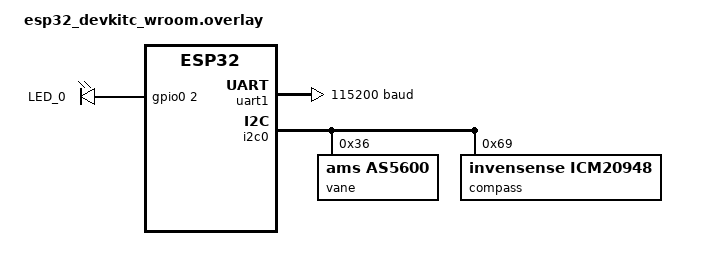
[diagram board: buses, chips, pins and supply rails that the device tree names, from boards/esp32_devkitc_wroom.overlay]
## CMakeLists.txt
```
cmake_minimum_required(VERSION 3.20.0)

find_package(Zephyr REQUIRED HINTS $ENV{ZEPHYR_BASE})

include_directories(src/sensors)

project(vortice_v2)

file(GLOB APP_SOURCES CONFIGURE_DEPENDS 
    "**/*.c"
    "**/*.h")

target_sources(app PRIVATE ${APP_SOURCES})
```

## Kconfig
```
source "Kconfig.zephyr"
```

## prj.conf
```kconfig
CONFIG_I2C=y

CONFIG_MAIN_STACK_SIZE=2048
CONFIG_HEAP_MEM_POOL_SIZE=2048

#Logging
CONFIG_LOG=y
CONFIG_UTF8=y
CONFIG_PRINTK=y
CONFIG_LOG_BACKEND_UART=y
CONFIG_LOG_BUFFER_SIZE=4096
CONFIG_LOG_MAX_LEVEL=4
CONFIG_CBPRINTF_FP_SUPPORT=y

#Sensor API
CONFIG_SENSOR=y

CONFIG_RTC=y
```

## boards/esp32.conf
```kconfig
CONFIG_LOG_BUFFER_SIZE=2048
```

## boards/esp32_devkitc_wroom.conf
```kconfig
CONFIG_LOG_BUFFER_SIZE=16384
```

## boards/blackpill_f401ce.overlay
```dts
/ {
    aliases {
        i2c0 = &i2c1;
        vane = &vane;
        compass = &compass;
    };
};

&usart1 {
     status = "okay";
    current-speed = < 115200 >;
};

&i2c1 {
   clock-frequency = <400000>;

   vane: as5600@36 {
        compatible = "ams,as5600";
        friendly-name = "vane";
        reg = <0x36>;
        status = "okay";
   };

   compass: icm20948@68 {
        compatible = "invensense,icm20948";
        friendly-name = "compass";
        reg = <0x68>;
        status = "okay";
        accel-fs = <16>;
        gyro-fs = <2000>;
        mag-freq = <100>;
   };
};
```

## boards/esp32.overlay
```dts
/ {
    aliases {
        board-i2c = &i2c0;
        led0 = &led0;
        vane = &as5600@36;
    };

    leds {
        compatible = "gpio-leds";
        led0: led_0 {
                gpios = <&gpio0 2 GPIO_ACTIVE_HIGH>;
                label = "LED_0";
        };
    };
};

&uart1 {
     status = "okay";
    current-speed = < 115200 >;
};

&i2c0 {
   as5600@36 {
        compatible = "ams,as5600";
        friendly-name = "vane";
        reg = <0x36>;
        status = "okay";
   }; 
};
```

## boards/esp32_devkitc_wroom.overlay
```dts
/ {
    aliases {
        i2c0 = &i2c0;
        led0 = &led0;
        vane = &vane;
        compass = &compass;
    };

    leds {
        compatible = "gpio-leds";
        led0: led_0 {
                gpios = <&gpio0 2 GPIO_ACTIVE_HIGH>;
                label = "LED_0";
        };
    };
};

&uart1 {
     status = "okay";
    current-speed = < 115200 >;
};

&i2c0 {
   vane: as5600@36 {
        compatible = "ams,as5600";
        friendly-name = "vane";
        reg = <0x36>;
        status = "okay";
   }; 
   
   compass: icm20948@69 {
        compatible = "invensense,icm20948";
        friendly-name = "compass";
        reg = <0x69>;
        status = "okay";
        mag-freq = <100>;
        accel-fchoice = <1>;
        accel-hz = "102.3";
        gyro-hz = "102.3";
   };
};
```

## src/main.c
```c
#include "compass.h"
#include "ds1307.h"
#include "errno.h"
#include "zephyr/device.h"
#include "zephyr/drivers/gpio.h"
#include "zephyr/drivers/i2c.h"
#include "zephyr/drivers/sensor.h"
#include "zephyr/kernel.h"
#include "zephyr/logging/log.h"
#include "zephyr/logging/log_core.h"
#include "zephyr/sys/printk.h"
#include <stdint.h>

#include <zephyr/drivers/uart.h>
#include <zephyr/kernel.h>
#include <zephyr/sys/printk.h>
#include <zephyr/usb/usb_device.h>
#include <zephyr/usb/usbd.h>

// BUILD_ASSERT(DT_NODE_HAS_COMPAT(DT_CHOSEN(zephyr_console),
// zephyr_cdc_acm_uart),
//              "Console device is not ACM CDC UART device");

#define LED0_NODE DT_ALIAS(led0)

LOG_MODULE_REGISTER(app);

int i2c_ping(const struct device *i2c_dev, uint16_t addr) {
  const uint8_t msg[1] = {0};

  return i2c_write(i2c_dev, msg, 1, addr);
}

void scan_i2c(const struct device *i2c_dev, const struct gpio_dt_spec led) {
  for (uint8_t i = 3; i < 0x78; i++) {
    int result = i2c_ping(i2c_dev, i);

    if (i % 16 == 0)
      printk("\n%.2x:", i);

    if (result == 0) {
      printk(" %.2x", i);
    } else
      printk(" --");
  }

  gpio_pin_toggle_dt(&led);
}

// A build error here means the board is not supported
static const struct gpio_dt_spec led = GPIO_DT_SPEC_GET(LED0_NODE, gpios);

int main() {
  int ret = gpio_pin_configure_dt(&led, GPIO_OUTPUT_ACTIVE);
  if (ret < 0) {
    return 0;
  }

  const struct device *const i2c_dev = DEVICE_DT_GET(DT_ALIAS(i2c0));
  const struct device *const icm20948_dev = DEVICE_DT_GET(DT_ALIAS(compass));

  struct compass_calibration_data compass_calibration_data;

  printk("\n");

  if (!device_is_ready(i2c_dev)) {
    printk("Could not get i2c device\n");
    return -1;
  }

  scan_i2c(i2c_dev, led);
  k_msleep(1000);

  if (!device_is_ready(icm20948_dev)) {
    printk("Could not get icm20948 sensor");
    return -1;
  }

  printk("Using board %s\n", CONFIG_BOARD);
  printk("\n");

  //  struct RtcDs1307 *rtc = ds1307_create(i2c_dev, 0x68);

  char axis[] = {'x', 'y', 'z'};

  while (1) {

    struct sensor_value accel_xyz[3];
    struct sensor_value gyro_xyz[3];
    struct sensor_value mag_xyz[3];
    struct sensor_value temp;

    int err = sensor_sample_fetch(icm20948_dev);
    if (err) {
      k_msleep(100);
      continue;
    }
    sensor_channel_get(icm20948_dev, SENSOR_CHAN_ACCEL_XYZ, accel_xyz);
    sensor_channel_get(icm20948_dev, SENSOR_CHAN_GYRO_XYZ, gyro_xyz);
    sensor_channel_get(icm20948_dev, SENSOR_CHAN_MAGN_XYZ, mag_xyz);
    sensor_channel_get(icm20948_dev, SENSOR_CHAN_DIE_TEMP, &temp);

    printk("acc( ");
    for (int i = 0; i < 3; i++) {
      printk("%c: %20.6f\t", axis[i], sensor_value_to_float(accel_xyz + i));
    }
    printk(" )\n");

    printk("gyro( ");
    for (int i = 0; i < 3; i++) {
      printk("%c: %20.6f\t", axis[i], sensor_value_to_float(gyro_xyz + i));
    }
    printk(" )\n");

    printk("mag( ");
    for (int i = 0; i < 3; i++) {
      printk("%c: %20.6f\t", axis[i], sensor_value_to_float(mag_xyz + i));
    }
    printk(" )");
    printk("\n");

    double angle =
        compass_gauss_to_heading2d(&compass_calibration_data, mag_xyz);

    // printk("Angle is: %6lf\n", angle);

    k_sleep(K_MSEC(1000));
    gpio_pin_toggle_dt(&led);
  }

  return 0;
}
```

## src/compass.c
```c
#include "compass.h"
#include "math.h"
#include "zephyr/drivers/sensor.h"
#include "zephyr/kernel.h"
#include "zephyr/sys/util.h"

/**
 * @brief
 * convert reading from channel SENSOR_CHAN_MAGN_XYZ to angle in 2d plane
 *
 * @param magXyz array of sensor values obtained through the channel
 * SENSOR_CHAN_MAGN_XYZ
 **/
double compass_gauss_to_heading2d(
    const struct compass_calibration_data *calibration_data,
    const struct sensor_value *magXyz) {

  double xGauss = sensor_value_to_double(magXyz),
         yGauss = sensor_value_to_double(magXyz + 1);

  return atan2(yGauss, xGauss);
}

/**
 * @brief Update calibration with sampled data
 *
 **/
static void compass_calibration_data_fetch(
    const struct device *compass_dev,
    struct compass_calibration_data *calibration_data) {
  sensor_sample_fetch(compass_dev);

  struct sensor_value mag_reads[3];

  sensor_channel_get(compass_dev, SENSOR_CHAN_MAGN_XYZ, mag_reads);

  calibration_data->xMax =
      MAX(calibration_data->xMax, sensor_value_to_double(mag_reads));

  calibration_data->yMax =
      MAX(calibration_data->yMax, sensor_value_to_double(mag_reads + 1));

  calibration_data->xMin =
      MIN(calibration_data->xMin, sensor_value_to_double(mag_reads));

  calibration_data->yMin =
      MIN(calibration_data->yMin, sensor_value_to_double(mag_reads + 1));
}
```

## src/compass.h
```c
#ifndef SRC_SENSORS_COMPASS_H_
#define SRC_SENSORS_COMPASS_H_
#include "zephyr/drivers/sensor.h"

struct compass_calibration_data {
  double xMax;
  double xMin;
  double yMax;
  double yMin;
};

double compass_gauss_to_heading2d(
    const struct compass_calibration_data *calibration_data,
    const struct sensor_value *magXyz);

#endif
```

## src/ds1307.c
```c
#include "ds1307.h"
#include "stdlib.h"
#include "time.h"
#include "zephyr/drivers/i2c.h"
#include "zephyr/kernel.h"
#include "zephyr/logging/log.h"
#include "zephyr/sys/printk.h"
#include "zephyr/sys/sys_heap.h"
#include "zephyr/sys/timeutil.h"
#include "zephyr/sys/util.h"
#include <errno.h>
#include <stdint.h>
#include <sys/_timespec.h>

LOG_MODULE_REGISTER(DS1307, LOG_LEVEL_DBG);

struct RtcDs1307 *ds1307_create(const struct device *device,
                                const uint8_t addr) {

  struct RtcDs1307 *rtc = k_malloc(sizeof(struct RtcDs1307));
  __ds1307_setup(rtc, device, addr);
  ds1307_enable(rtc);

  LOG_INF("RTC Instance created");

  return rtc;
}

const static uint8_t kRtcBitmasks[7] = {0x7F, 0x7F, 0x3F, 0x07,
                                        0x3F, 0x1F, 0xFF};

/***
 * @param rtc pointer of type const struct RtcDs1307
 * @param buff pointer of type uint8_t to store the read buffer.
 * The pointer must be longer than 7 bytes to store all the information.
 *
 * @retval 0 if successful.
 * @retval -EINVAL if buffer is shorter than 7 bytes.
 ***/
int __ds1307_reg_load(const struct RtcDs1307 *rtc, uint8_t *buff) {
  uint8_t write_buff[1] = {0x00};
  const uint8_t kRegSize = 7;

  int err = i2c_write_read(rtc->dev, rtc->addr, write_buff, 1, buff, kRegSize);
  if (err != 0) {
    LOG_ERR("Error reading data from RTC");
    return err;
  }

  return 0;
}

int ds1307_time_set(const struct RtcDs1307 *rtc, struct tm *time) {
  uint8_t write_buff[8] = {0};

  // Disable rtc
  int err = i2c_reg_update_byte(rtc->dev, rtc->addr, 0x00, 0x80, 0xFF);
  if (err != 0) {
    LOG_ERR("Could not stop RTC");
    return err;
  }

  LOG_DBG("RTC Disabled");

  err = __ds1307_reg_load(rtc, write_buff + 1);
  if (err != 0) {
    return err;
  }

  for (int i = 0; i < 7; i++) {
    write_buff[i + 1] = write_buff[i + 1] & kRtcBitmasks[i - 1];
  }

  write_buff[0] = 0x00;
  write_buff[1] = write_buff[1] | bin2bcd(time->tm_sec);
  write_buff[2] = write_buff[2] | bin2bcd(time->tm_min);
  write_buff[3] = write_buff[3] | bin2bcd(time->tm_hour);
  write_buff[4] = write_buff[4] | bin2bcd(time->tm_wday + 1);
  write_buff[5] = write_buff[5] | bin2bcd(time->tm_mday);
  write_buff[6] = write_buff[6] | bin2bcd(time->tm_mon + 1);
  write_buff[7] = write_buff[7] | bin2bcd(time->tm_year - 100);

  err = i2c_write(rtc->dev, write_buff, sizeof(write_buff), rtc->addr);
  if (err != 0) {
    return err;
  }

  err = ds1307_enable(rtc);
  if (err != 0) {
    return err;
  }

  return 0;
}

int ds1307_time_fetch(const struct RtcDs1307 *rtc) {
  uint8_t read_buff[7] = {0};

  // Read from register 0x00 to register 0x06
  int ret = __ds1307_reg_load(rtc, read_buff);
  if (ret != 0) {
    return ret;
  }

  uint8_t seconds, minutes, hours, day, date, month, year;
  seconds = bcd2bin(read_buff[0] & kRtcBitmasks[0]);
  minutes = bcd2bin(read_buff[1] & kRtcBitmasks[1]);
  hours = bcd2bin(read_buff[2] & kRtcBitmasks[2]);
  day = bcd2bin(read_buff[3] & kRtcBitmasks[3]);
  date = bcd2bin(read_buff[4] & kRtcBitmasks[4]);
  month = bcd2bin(read_buff[5] & kRtcBitmasks[5]);
  year = bcd2bin(read_buff[6] & kRtcBitmasks[6]);

  struct tm time = {.tm_min = minutes,
                    .tm_sec = seconds,
                    .tm_mon = month - 1, // months in DS1307 go from 1-12
                    .tm_hour = hours,
                    .tm_mday = date,
                    .tm_wday = day - 1,
                    .tm_year = (int)year + 100}; // RTC returns years from 2000

  time_t unix_time = timeutil_timegm(&time);

  printk("reg 0: %02X\n"
         "reg 2: %02X\n\n",
         read_buff[0], read_buff[2]);
  printk("seconds: %d\n"
         "minutes: %d\n"
         "hours: %d\n"
         "day: %d\n"
         "date: %d\n"
         "month: %d\n"
         "year: %d\n",
         seconds, minutes, hours, day, date, month, year);
  printk("timestamp: %lld\n", unix_time);
  printk("\n\n");

  if (ret != 0) {
    return ret;
  }

  return 0;
}

int __ds1307_setup(struct RtcDs1307 *rtc, const struct device *device,
                   const uint8_t addr) {
  rtc->dev = device;
  rtc->addr = addr;
  rtc->timestamp = 0;

  int err = i2c_reg_update_byte(rtc->dev, rtc->addr, 0x02, 0x40, 0xFF);
  if (err != 0) {
    LOG_ERR("RTC could not be set to 24H mode");
    return err;
  } else {
    LOG_INF("RTC set in 24H mode.");
  }
  return 0;
}

int ds1307_enable(const struct RtcDs1307 *rtc) {
  // Enable oscillator
  int err = i2c_reg_update_byte(rtc->dev, rtc->addr, 0x00, 0x80, 0x00);
  if (err != 0) {
    LOG_ERR("RTC could not be enabled.");
    return err;
  }

  return 0;
}
```

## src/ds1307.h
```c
#ifndef VORTICE_V2_DS1307_H_
#define VORTICE_V2_DS1307_H_

#include "zephyr/device.h"
#include "zephyr/drivers/i2c.h"
#include <stdint.h>
#include <time.h>

struct RtcDs1307 {
  const struct device *dev;
  uint8_t addr;
  uint16_t timestamp;
};

struct RtcDs1307 *ds1307_create(const struct device *device,
                                const uint8_t addr);

int ds1307_time_fetch(const struct RtcDs1307 *rtc);

int ds1307_time_set(const struct RtcDs1307 *rtc, struct tm *time);

int __ds1307_setup(struct RtcDs1307 *rtc, const struct device *device,
                   const uint8_t addr);

int ds1307_enable(const struct RtcDs1307 *rtc);

#endif
```
